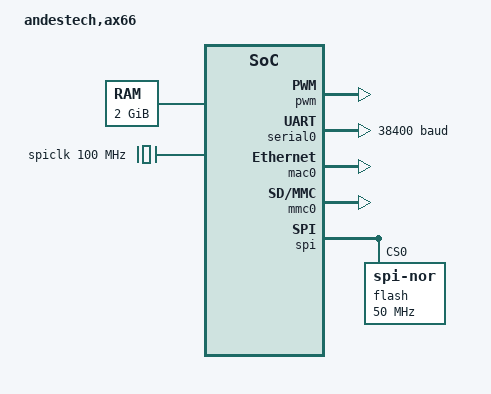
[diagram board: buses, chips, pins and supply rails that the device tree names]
/dts-v1/;

/ {
	#address-cells = <2>;
	#size-cells = <2>;
	compatible = "andestech,ae350";
	model = "andestech,ax66";
	aliases {
		uart0 = &serial0;
		spi0 = &spi;
	};

	chosen {
		bootargs = "console=ttyS0,115200n8 debug loglevel=7 earlycon=sbi";
		stdout-path = "uart0:115200n8";
	};
	cpus {
		#address-cells = <1>;
		#size-cells = <0>;
		timebase-frequency = <60000000>;
		CPU0: cpu@0 {
			device_type = "cpu";
			reg = <0>;
			status = "okay";
			compatible = "riscv";
                       riscv,isa = "rv64imadcbh";
                       riscv,isa-base = "rv64i";
                       riscv,isa-extensions = "i", "m", "a", "d", "c", "b", "h",
					      "zimop", "zicond", "zihintntl", "zifencei",
					      "zicntr", "zihpm", "zicbom", "zicbop", "zicboz",
					      "zfa", "zfh", "zfbfmin", "zawrs", "zbc", "zcb",
					      "zcmop", "zbkb", "zbkc", "zbkx", "zkn", "zknd",
					      "zkne", "zknh", "zks", "zksed", "zksh", "zkt",
					      "smepmp", "svinval", "svnapot", "svpbmt", "smstateen",
					      "sscofpmf", "smaia", "ssaia", "smcsrind", "sscsrind",
					      "sstc", "ssnpm", "smnpm", "smmpm";
			riscv,priv-major = <1>;
			riscv,priv-minor = <10>;
			riscv,cbom-block-size = <64>;
			mmu-type = "riscv,sv48";
			clock-frequency = <60000000>;
			i-cache-size = <0x10000>;
			i-cache-sets = <256>;
			i-cache-line-size = <64>;
			i-cache-block-size = <64>;
			d-cache-size = <0x10000>;
			d-cache-sets = <256>;
			d-cache-line-size = <64>;
			d-cache-block-size = <64>;
			next-level-cache = <&L2>;
			CPU0_intc: interrupt-controller {
				#address-cells = <2>;
				#interrupt-cells = <1>;
				interrupt-controller;
				compatible = "riscv,cpu-intc";
			};
		};
		CPU1: cpu@1 {
			device_type = "cpu";
			reg = <1>;
			status = "okay";
			compatible = "riscv";
                       riscv,isa = "rv64imadcbh";
                       riscv,isa-base = "rv64i";
                       riscv,isa-extensions = "i", "m", "a", "d", "c", "b", "h",
					      "zimop", "zicond", "zihintntl", "zifencei",
					      "zicntr", "zihpm", "zicbom", "zicbop", "zicboz",
					      "zfa", "zfh", "zfbfmin", "zawrs", "zbc", "zcb",
					      "zcmop", "zbkb", "zbkc", "zbkx", "zkn", "zknd",
					      "zkne", "zknh", "zks", "zksed", "zksh", "zkt",
					      "smepmp", "svinval", "svnapot", "svpbmt", "smstateen",
					      "sscofpmf", "smaia", "ssaia", "smcsrind", "sscsrind",
					      "sstc", "ssnpm", "smnpm", "smmpm";
			riscv,priv-major = <1>;
			riscv,priv-minor = <10>;
			riscv,cbom-block-size = <64>;
			mmu-type = "riscv,sv48";
			clock-frequency = <60000000>;
			i-cache-size = <0x10000>;
			i-cache-sets = <256>;
			i-cache-line-size = <64>;
			i-cache-block-size = <64>;
			d-cache-size = <0x10000>;
			d-cache-sets = <256>;
			d-cache-line-size = <64>;
			d-cache-block-size = <64>;
			next-level-cache = <&L2>;
			CPU1_intc: interrupt-controller {
				#address-cells = <2>;
				#interrupt-cells = <1>;
				interrupt-controller;
				compatible = "riscv,cpu-intc";
			};
		};
	};
	L2: l2-cache@e0500000 {
		compatible = "cache";
		cache-level = <2>;
		cache-size = <0x200000>;
		reg = <0x00000000 0xe0500000 0x00000000 0x00010000>;
		andes,inst-prefetch = <3>;
		andes,data-prefetch = <3>;
		// The value format is <XRAMOCTL XRAMICTL>
		andes,tag-ram-ctl = <0 0>;
		andes,data-ram-ctl = <0 0>;
	};
	reserved-memory {
		#address-cells = <2>;
		#size-cells = <2>;
		ranges;

		hvm0: andes_hvm@90000000 {
			compatible = "andestech,hvm";
			reg = <0x0 0x90000000 0x0 0x800000>;
			andes,hvm_bank = <0x02>;
			andes,hvm_subp = <0x01>;
			no-map;
		};
		andes_inject@100000 {
			compatible = "inject";
			reg = <0x00 0x100000 0x00 0x100000>;
			reusable;
		};
	};
	memory@0 {
		reg = <0x00000000 0x00000000 0x00000000 0x80000000>;
		device_type = "memory";
	};
	soc {
		#address-cells = <2>;
		#size-cells = <2>;
		compatible = "andestech,riscv-ae350-soc", "simple-bus";
		ranges;
		aplic_m: interrupt-controller@e4400000 {
			compatible = "riscv,aplic";
			msi-parent = <&imsic_mlevel>;
			reg = <0x00000000 0xe4400000 0x00000000 0x00008000>;
			interrupt-controller;
			#address-cells = <2>;
			#interrupt-cells = <2>;
			riscv,num-sources = <31>;
			riscv,children = <&aplic_s>;
			riscv,delegation = <&aplic_s 1 31>;
		};
		aplic_s: interrupt-controller@e4408000 {
			compatible = "riscv,aplic";
			msi-parent = <&imsic_slevel>;
			reg = <0x00000000 0xe4408000 0x00000000 0x00008000>;
			interrupt-controller;
			#address-cells = <2>;
			#interrupt-cells = <2>;
			riscv,num-sources = <31>;
		};
		imsic_mlevel: interrupt-controller@c4000000 {
			compatible = "riscv,imsics";
			msi-controller;
			reg = <0x00000000 0xc4000000 0x00000000 0x00100000>;
			interrupts-extended = < &CPU0_intc 11 &CPU1_intc 11>;
			interrupt-controller;
			#address-cells = <2>;
			#interrupt-cells = <0>;
			riscv,num-ids = <63>;
			#msi-cells = <0>;
		};
		imsic_slevel: interrupt-controller@c4100000 {
			compatible = "riscv,imsics";
			msi-controller;
			reg = <0x00000000 0xc4100000 0x00000000 0x00100000>;
			interrupts-extended = < &CPU0_intc 9 &CPU1_intc 9>;
			interrupt-controller;
			#address-cells = <2>;
			#interrupt-cells = <0>;
			riscv,num-ids = <63>;
			riscv,guest-index-bits = <2>;
			#msi-cells = <0>;
		};
		plmt0: plmt0@e6000000 {
			compatible = "andestech,plmt0";
			reg = <0x00000000 0xe6000000 0x00000000 0x00100000>;
			interrupts-extended = < &CPU0_intc 7 &CPU1_intc 7>;
		};
		spiclk: virt_100mhz {
			compatible = "fixed-clock";
			#clock-cells = <0>;
			clock-frequency = <100000000>;
		};
		timer0: timer@f0400000 {
			compatible = "andestech,atcpit100";
			reg = <0x00000000 0xf0400000 0x00000000 0x00001000>;
			interrupts = <3 4>;
			interrupt-parent = <&aplic_s>;
			clock-frequency = <60000000>;
		};
		pwm: pwm@f0400000 {
			compatible = "andestech,atcpit100-pwm";
			reg = <0x00000000 0xf0400000 0x00000000 0x00001000>;
			interrupts = <3 4>;
			interrupt-parent = <&aplic_s>;
			clock-frequency = <60000000>;
			pwm-cells = <2>;
		};
		wdt: wdt@f0500000 {
			compatible = "andestech,atcwdt200";
			reg = <0x00000000 0xf0500000 0x00000000 0x00001000>;
			interrupts = <3 4>;
			interrupt-parent = <&aplic_s>;
			clock-frequency = <60000000>;
		};
		serial0: serial@f0300000 {
			compatible = "andestech,uart16550", "ns16550a";
			reg = <0x00000000 0xf0300000 0x00000000 0x00001000>;
			interrupts = <9 4>;
			interrupt-parent = <&aplic_s>;
			clock-frequency = <19660800>;
			current-speed = <38400>;
			reg-shift = <2>;
			reg-offset = <32>;
			reg-io-width = <4>;
			no-loopback-test = <1>;
		};
		rtc0: rtc@f0600000 {
			compatible = "andestech,atcrtc100";
			reg = <0x00000000 0xf0600000 0x00000000 0x00001000>;
			interrupts = <1 4 2 4>;
			interrupt-parent = <&aplic_s>;
			wakeup-source;
		};
		gpio: gpio@f0700000 {
			compatible = "andestech,atcgpio100";
			reg = <0x00000000 0xf0700000 0x00000000 0x00001000>;
			interrupts = <7 4>;
			interrupt-parent = <&aplic_s>;
			wakeup-source;
		};
		mac0: mac@e0100000 {
			compatible = "andestech,atmac100";
			reg = <0x00000000 0xe0100000 0x00000000 0x00001000>;
			interrupts = <19 4>;
			interrupt-parent = <&aplic_s>;
			dma-coherent;
		};
		smu: smu@f0100000 {
			compatible = "andestech,atcsmu";
			reg = <0x00000000 0xf0100000 0x00000000 0x00001000>;
		};
		mmc0: mmc@f0e00000 {
			compatible = "andestech,atfsdc010";
			reg = <0x00000000 0xf0e00000 0x00000000 0x00001000>;
			interrupts = <18 4>;
			interrupt-parent = <&aplic_s>;
			clock-freq-min-max = <400000 100000000>;
			max-frequency = <100000000>;
			fifo-depth = <16>;
			dmas = <&dma0 9>;
			dma-names = "rxtx";
			dma-coherent;
		};
		dma0: dma@f0c00000 {
			compatible = "andestech,atcdmac300";
			reg = <0x00000000 0xf0c00000 0x00000000 0x00001000>;
			interrupts = <10 4>;
			interrupt-parent = <&aplic_s>;
			dma-channels = <8>;
			#dma-cells = <1>;
			dma-coherent;
		};
		pmu: pmu {
			compatible = "riscv,andes-pmu";
			device_type = "pmu";
		};
		spi: spi@f0b00000 {
			compatible = "andestech,atcspi200";
			reg = <0x00000000 0xf0b00000 0x00000000 0x00001000>;
			interrupts = <4 4>;
			interrupt-parent = <&aplic_s>;
			#address-cells = <1>;
			#size-cells = <0>;
			num-cs = <1>;
			clocks = <&spiclk>;
			flash@0 {
				compatible = "jedec,spi-nor";
				reg = <0x00000000>;
				spi-max-frequency = <50000000>;
				spi-cpol;
				spi-cpha;
			};
		};
		es100: es100@f0900000 {
			compatible = "andestech,es100";
			reg = <0x00000000 0xf0900000 0x00000000 0x00001000>;
		};
	};
};

